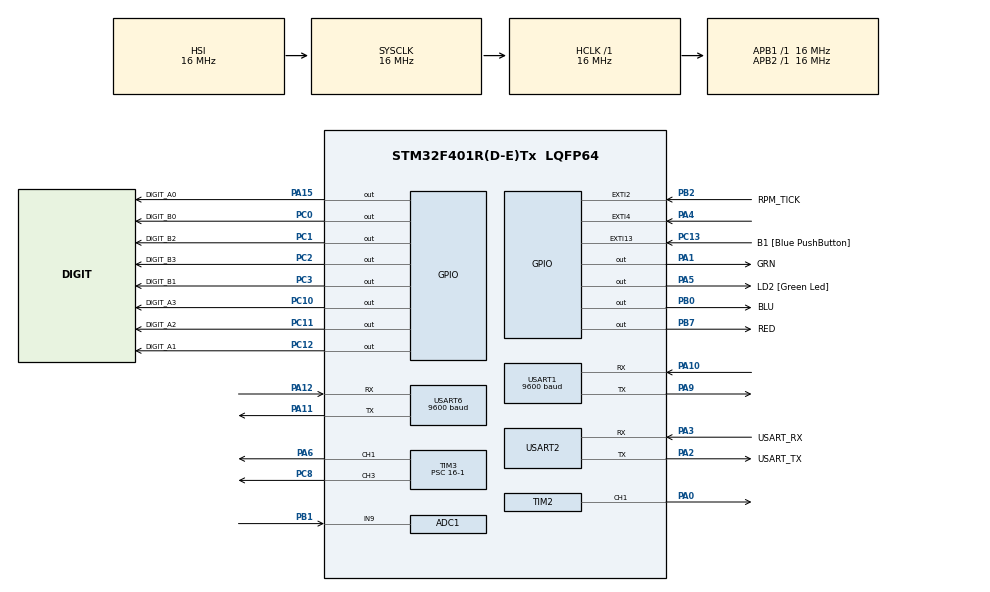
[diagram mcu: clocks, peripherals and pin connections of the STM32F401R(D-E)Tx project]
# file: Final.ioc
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ADC1.Channel-1\#ChannelRegularConversion=ADC_CHANNEL_9
ADC1.NbrOfConversionFlag=1
ADC1.Rank-1\#ChannelRegularConversion=1
ADC1.SamplingTime-1\#ChannelRegularConversion=ADC_SAMPLETIME_3CYCLES
ADC1.master=1
Mcu.Family=STM32F4
Mcu.Name=STM32F401R(D-E)Tx
Mcu.Package=LQFP64
NVIC.EXTI15_10_IRQn=true\:0\:0\:false\:false\:true\:true\:true\:true
NVIC.EXTI2_IRQn=true\:0\:0\:false\:false\:true\:true\:true\:true
NVIC.PriorityGroup=NVIC_PRIORITYGROUP_0
NVIC.USART1_IRQn=true\:0\:0\:false\:false\:true\:true\:true\:true
NVIC.USART6_IRQn=true\:0\:0\:false\:false\:true\:true\:true\:true
PA0-WKUP.Signal=S_TIM2_CH1_ETR
PA1.GPIO_Label=GRN
PA1.Signal=GPIO_Output
PA10.Mode=Asynchronous
PA10.Signal=USART1_RX
PA11.Mode=Asynchronous
PA11.Signal=USART6_TX
PA12.Mode=Asynchronous
PA12.Signal=USART6_RX
PA13.GPIO_Label=TMS
PA13.Mode=Serial_Wire
PA13.Signal=SYS_JTMS-SWDIO
PA14.GPIO_Label=TCK
PA14.Mode=Serial_Wire
PA14.Signal=SYS_JTCK-SWCLK
PA15.GPIO_Label=DIGIT_A0
PA15.Signal=GPIO_Output
PA2.GPIO_Label=USART_TX
PA2.GPIO_Mode=GPIO_MODE_AF_PP
PA2.GPIO_PuPd=GPIO_NOPULL
PA2.GPIO_Speed=GPIO_SPEED_FREQ_LOW
PA2.Mode=Asynchronous
PA2.Signal=USART2_TX
PA3.GPIO_Label=USART_RX
PA3.GPIO_Mode=GPIO_MODE_AF_PP
PA3.GPIO_PuPd=GPIO_NOPULL
PA3.GPIO_Speed=GPIO_SPEED_FREQ_LOW
PA3.Mode=Asynchronous
PA3.Signal=USART2_RX
PA4.Signal=GPXTI4
PA5.GPIO_Label=LD2 [Green Led]
PA5.GPIO_Mode=GPIO_MODE_OUTPUT_PP
PA5.GPIO_PuPd=GPIO_NOPULL
PA5.GPIO_Speed=GPIO_SPEED_FREQ_LOW
PA5.Signal=GPIO_Output
PA6.Signal=S_TIM3_CH1
PA9.Mode=Asynchronous
PA9.Signal=USART1_TX
PB0.GPIO_Label=BLU
PB0.Signal=GPIO_Output
PB1.Signal=ADCx_IN9
PB2.GPIO_Label=RPM_TICK
PB2.GPIO_ModeDefaultEXTI=GPIO_MODE_IT_RISING
PB2.Signal=GPXTI2
PB3.Signal=SYS_JTDO-SWO
PB7.GPIO_Label=RED
PB7.Signal=GPIO_Output
PC0.GPIO_Label=DIGIT_B0
PC0.Signal=GPIO_Output
PC1.GPIO_Label=DIGIT_B2
PC1.Signal=GPIO_Output
PC10.GPIO_Label=DIGIT_A3
PC10.Signal=GPIO_Output
PC11.GPIO_Label=DIGIT_A2
PC11.Signal=GPIO_Output
PC12.GPIO_Label=DIGIT_A1
PC12.Signal=GPIO_Output
PC13-ANTI_TAMP.GPIO_Label=B1 [Blue PushButton]
PC13-ANTI_TAMP.GPIO_ModeDefaultEXTI=GPIO_MODE_IT_FALLING
PC13-ANTI_TAMP.GPIO_PuPd=GPIO_NOPULL
PC13-ANTI_TAMP.Signal=GPXTI13
PC14-OSC32_IN.Mode=LSE-External-Oscillator
PC14-OSC32_IN.Signal=RCC_OSC32_IN
PC15-OSC32_OUT.Mode=LSE-External-Oscillator
PC15-OSC32_OUT.Signal=RCC_OSC32_OUT
PC2.GPIO_Label=DIGIT_B3
PC2.Signal=GPIO_Output
PC3.GPIO_Label=DIGIT_B1
PC3.Signal=GPIO_Output
PC8.Signal=S_TIM3_CH3
PH0\ -\ OSC_IN.Mode=HSE-External-Clock-Source
PH0\ -\ OSC_IN.Signal=RCC_OSC_IN
PH1\ -\ OSC_OUT.Mode=HSE-External-Clock-Source
PH1\ -\ OSC_OUT.Signal=RCC_OSC_OUT
ProjectManager.HeapSize=0x200
ProjectManager.StackSize=0x400
ProjectManager.TargetToolchain=STM32CubeIDE
RCC.48MHZClocksFreq_Value=48000000
RCC.AHBFreq_Value=16000000
RCC.APB1Freq_Value=16000000
RCC.APB1TimFreq_Value=16000000
RCC.APB2Freq_Value=16000000
RCC.APB2TimFreq_Value=16000000
RCC.CortexFreq_Value=16000000
RCC.HCLKFreq_Value=16000000
RCC.HSE_VALUE=8000000
RCC.HSI_VALUE=16000000
RCC.PLLN=336
RCC.PLLP=RCC_PLLP_DIV4
RCC.PLLQ=7
RCC.SYSCLKFreq_VALUE=16000000
RCC.VCOOutputFreq_Value=336000000
SH.ADCx_IN9.0=ADC1_IN9,IN9
SH.S_TIM2_CH1_ETR.0=TIM2_CH1,PWM Generation1 CH1
SH.S_TIM3_CH1.0=TIM3_CH1,PWM Generation1 CH1
SH.S_TIM3_CH3.0=TIM3_CH3,PWM Generation3 CH3
TIM2.AutoReloadPreload=TIM_AUTORELOAD_PRELOAD_ENABLE
TIM2.Channel-PWM\ Generation1\ CH1=TIM_CHANNEL_1
TIM2.Period=20000-1
TIM2.Prescaler=16-1
TIM3.AutoReloadPreload=TIM_AUTORELOAD_PRELOAD_ENABLE
TIM3.Channel-PWM\ Generation1\ CH1=TIM_CHANNEL_1
TIM3.Channel-PWM\ Generation3\ CH3=TIM_CHANNEL_3
TIM3.Period=2000-1
TIM3.Prescaler=16-1
TIM3.Pulse-PWM\ Generation1\ CH1=1200-1
USART1.BaudRate=9600
USART1.VirtualMode=VM_ASYNC
USART2.VirtualMode=VM_ASYNC
USART6.BaudRate=9600
USART6.Mode=MODE_TX_RX
USART6.VirtualMode=VM_ASYNC
VP_TIM2_VS_ClockSourceINT.Mode=Internal
board=NUCLEO-F401RE

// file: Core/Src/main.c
/* USER CODE BEGIN Header */
/**
  ******************************************************************************
  * @file           : main.c
  * @brief          : Main program body
  ******************************************************************************
  * @attention
  *
  * Copyright (c) 2024 STMicroelectronics.
  * All rights reserved.
  *
  * This software is licensed under terms that can be found in the LICENSE file
  * in the root directory of this software component.
  * If no LICENSE file comes with this software, it is provided AS-IS.
  *
  ******************************************************************************
  */
/* USER CODE END Header */
#include "main.h"

/* USER CODE BEGIN Includes */
#include <string.h>
#include <stdio.h>
/* USER CODE END Includes */

ADC_HandleTypeDef hadc1;

TIM_HandleTypeDef htim2;
TIM_HandleTypeDef htim3;

UART_HandleTypeDef huart1;
UART_HandleTypeDef huart2;
UART_HandleTypeDef huart6;

void SystemClock_Config(void);
static void MX_GPIO_Init(void);
static void MX_USART2_UART_Init(void);
static void MX_ADC1_Init(void);
static void MX_TIM2_Init(void);
static void MX_TIM3_Init(void);
static void MX_USART1_UART_Init(void);
static void MX_USART6_UART_Init(void);
/* USER CODE BEGIN PFP */
static void ADC_Select_CH(int CH);
/* USER CODE END PFP */

/* USER CODE BEGIN 0 */

void ADC_Select_CH(int CH)
{
ADC_ChannelConfTypeDef sConfig = {0};
switch(CH)
{
case 0:
sConfig.Channel = ADC_CHANNEL_0;
sConfig.Rank = 1;
if (HAL_ADC_ConfigChannel(&hadc1, &sConfig) != HAL_OK)
{
Error_Handler();
}
break;
case 1:
sConfig.Channel = ADC_CHANNEL_1;
sConfig.Rank = 1;
if (HAL_ADC_ConfigChannel(&hadc1, &sConfig) != HAL_OK)
{
Error_Handler();
}
break;
case 2:
sConfig.Channel = ADC_CHANNEL_2;
sConfig.Rank = 1;
if (HAL_ADC_ConfigChannel(&hadc1, &sConfig) != HAL_OK)
{
Error_Handler();
}
break;
case 3:
sConfig.Channel = ADC_CHANNEL_3;
sConfig.Rank = 1;
if (HAL_ADC_ConfigChannel(&hadc1, &sConfig) != HAL_OK)
{
Error_Handler();
}
break;
case 4:
sConfig.Channel = ADC_CHANNEL_4;
sConfig.Rank = 1;
if (HAL_ADC_ConfigChannel(&hadc1, &sConfig) != HAL_OK)
{
Error_Handler();
}
break;
case 5:
sConfig.Channel = ADC_CHANNEL_5;
sConfig.Rank = 1;
if (HAL_ADC_ConfigChannel(&hadc1, &sConfig) != HAL_OK)
{
Error_Handler();
}
break;
case 6:
sConfig.Channel = ADC_CHANNEL_6;
sConfig.Rank = 1;
if (HAL_ADC_ConfigChannel(&hadc1, &sConfig) != HAL_OK)
{
Error_Handler();
}
break;
case 7:
sConfig.Channel = ADC_CHANNEL_7;
sConfig.Rank = 1;
if (HAL_ADC_ConfigChannel(&hadc1, &sConfig) != HAL_OK)
{
Error_Handler();
}
break;
case 8:
sConfig.Channel = ADC_CHANNEL_8;
sConfig.Rank = 1;
if (HAL_ADC_ConfigChannel(&hadc1, &sConfig) != HAL_OK)
{
Error_Handler();
}
break;
case 9:
sConfig.Channel = ADC_CHANNEL_9;
sConfig.Rank = 1;
if (HAL_ADC_ConfigChannel(&hadc1, &sConfig) != HAL_OK)
{
Error_Handler();
}
break;
case 10:
sConfig.Channel = ADC_CHANNEL_10;
sConfig.Rank = 1;
if (HAL_ADC_ConfigChannel(&hadc1, &sConfig) != HAL_OK)
{
Error_Handler();
}
break;
case 11:
sConfig.Channel = ADC_CHANNEL_11;
sConfig.Rank = 1;
if (HAL_ADC_ConfigChannel(&hadc1, &sConfig) != HAL_OK)
{
Error_Handler();
}
break;
case 12:
sConfig.Channel = ADC_CHANNEL_12;
sConfig.Rank = 1;
if (HAL_ADC_ConfigChannel(&hadc1, &sConfig) != HAL_OK)
{
Error_Handler();
}
break;
case 13:
sConfig.Channel = ADC_CHANNEL_13;
sConfig.Rank = 1;
if (HAL_ADC_ConfigChannel(&hadc1, &sConfig) != HAL_OK)
{
Error_Handler();
}
break;
case 14:
sConfig.Channel = ADC_CHANNEL_14;
sConfig.Rank = 1;
if (HAL_ADC_ConfigChannel(&hadc1, &sConfig) != HAL_OK)
{
Error_Handler();
}
break;
case 15:
sConfig.Channel = ADC_CHANNEL_15;
sConfig.Rank = 1;
if (HAL_ADC_ConfigChannel(&hadc1, &sConfig) != HAL_OK)
{
Error_Handler();
}
break;
}
}
/* USER CODE END 0 */

int main(void)
{

  /* USER CODE BEGIN 1 */
  uint8_t txd_msg_buffer[64] = {0};
  /* USER CODE END 1 */

  /* MCU Configuration--------------------------------------------------------*/

  /* Reset of all peripherals, Initializes the Flash interface and the Systick. */
  HAL_Init();

  /* USER CODE BEGIN Init */
  uint8_t counter = 22;
  uint8_t DIG_A;
  uint8_t DIG_B;
  /* USER CODE END Init */

  /* Configure the system clock */
  SystemClock_Config();

  /* Initialize all configured peripherals */
  MX_GPIO_Init();
  MX_USART2_UART_Init();
  MX_ADC1_Init();
  MX_TIM2_Init();
  MX_TIM3_Init();
  MX_USART1_UART_Init();
  MX_USART6_UART_Init();
  /* USER CODE BEGIN 2 */
  HAL_TIM_Base_Init(&htim3);
  HAL_TIM_PWM_Start(&htim3, TIM_CHANNEL_1);
  HAL_TIM_PWM_Start(&htim3, TIM_CHANNEL_3);
  TIM3->PSC = 15;
  TIM3->ARR = 60000;
  TIM3->CCR1 = 0;
  TIM3->CCR3 = 0;
  int TIM3_Ch1_DCVAL = 0;
  int TIM3_Ch3_DCVAL = 0;
  int TIM2_Ch1_DCVAL = 500;
  int TIM2_Ch1_STEP = 20;
  HAL_TIM_Base_Start(&htim2);
  HAL_TIM_PWM_Start(&htim2, TIM_CHANNEL_1);
  TIM2->PSC = 16-1;
  TIM2->ARR = 20000-1;
  TIM2->CCR1 = TIM2_Ch1_DCVAL;
  /* USER CODE END 2 */

  /* Infinite loop */
  /* USER CODE BEGIN WHILE */
  while (1)
  {
	  //Potentiometer manual control
	  //polling for adc value
	  ADC_Select_CH(9);
	  HAL_ADC_Start(&hadc1);
	  HAL_ADC_PollForConversion(&hadc1, 1000);
	  uint8_t ADC_CH9 = HAL_ADC_GetValue(&hadc1);
	  HAL_ADC_Stop(&hadc1);
	  sprintf((char*)txd_msg_buffer, "DIGITIZED ANALOG VALUE FOR CH9: %d \r \n", ADC_CH9);
	  HAL_UART_Transmit(&huart6, txd_msg_buffer, strlen((char*)txd_msg_buffer), 1000);
	  HAL_Delay(1000);
	  //set motor speed to adc value
	  TIM3_Ch1_DCVAL = ADC_CH9*234;
	  TIM3->CCR1 = TIM3_Ch1_DCVAL;

	  //LED temp. code
	  HAL_GPIO_WritePin(GPIOA, GRN_Pin, GPIO_PIN_SET);
	  HAL_GPIO_WritePin(GPIOA, BLU_Pin|RED_Pin, GPIO_PIN_RESET);
	  HAL_Delay(1000);
	  HAL_GPIO_WritePin(GPIOA, BLU_Pin, GPIO_PIN_SET);
	  HAL_GPIO_WritePin(GPIOA, GRN_Pin|RED_Pin, GPIO_PIN_RESET);
	  HAL_Delay(1000);
	  HAL_GPIO_WritePin(RED_GPIO_Port, RED_Pin, GPIO_PIN_SET);
	  HAL_GPIO_WritePin(GPIOA, GRN_Pin|BLU_Pin, GPIO_PIN_RESET);
	  HAL_Delay(1000);

	  //HAL_GPIO_WritePin(DIGIT_A3_GPIO_Port, DIGIT_A3_Pin, GPIO_PIN_RESET);

	  //Timer board temp. code
	  DIG_A = counter/10;
	  DIG_B = counter%10;
	  DIGITS_Display(DIG_A, DIG_B);

	  //SERVO TEMP. CODE
	  /*while(TIM2_Ch1_DCVAL < 2500)
	  {
		  TIM2_Ch1_DCVAL += (TIM2_Ch1_STEP);
		  TIM2->CCR1 = TIM2_Ch1_DCVAL;
		  HAL_Delay(1);
	  }
	  while(TIM2_Ch1_DCVAL > 500)
	  {
		  TIM2_Ch1_DCVAL -= (TIM2_Ch1_STEP);
		  TIM2->CCR1 = TIM2_Ch1_DCVAL;
		  HAL_Delay(1);
	  }*/

    /* USER CODE END WHILE */

  }
}

void SystemClock_Config(void)
{
  RCC_OscInitTypeDef RCC_OscInitStruct = {0};
  RCC_ClkInitTypeDef RCC_ClkInitStruct = {0};

  /** Configure the main internal regulator output voltage
  */
  __HAL_RCC_PWR_CLK_ENABLE();
  __HAL_PWR_VOLTAGESCALING_CONFIG(PWR_REGULATOR_VOLTAGE_SCALE2);

  /** Initializes the RCC Oscillators according to the specified parameters
  * in the RCC_OscInitTypeDef structure.
  */
  RCC_OscInitStruct.OscillatorType = RCC_OSCILLATORTYPE_HSI;
  RCC_OscInitStruct.HSIState = RCC_HSI_ON;
  RCC_OscInitStruct.HSICalibrationValue = RCC_HSICALIBRATION_DEFAULT;
  RCC_OscInitStruct.PLL.PLLState = RCC_PLL_NONE;
  if (HAL_RCC_OscConfig(&RCC_OscInitStruct) != HAL_OK)
  {
    Error_Handler();
  }

  /** Initializes the CPU, AHB and APB buses clocks
  */
  RCC_ClkInitStruct.ClockType = RCC_CLOCKTYPE_HCLK|RCC_CLOCKTYPE_SYSCLK
                              |RCC_CLOCKTYPE_PCLK1|RCC_CLOCKTYPE_PCLK2;
  RCC_ClkInitStruct.SYSCLKSource = RCC_SYSCLKSOURCE_HSI;
  RCC_ClkInitStruct.AHBCLKDivider = RCC_SYSCLK_DIV1;
  RCC_ClkInitStruct.APB1CLKDivider = RCC_HCLK_DIV1;
  RCC_ClkInitStruct.APB2CLKDivider = RCC_HCLK_DIV1;

  if (HAL_RCC_ClockConfig(&RCC_ClkInitStruct, FLASH_LATENCY_0) != HAL_OK)
  {
    Error_Handler();
  }
}

static void MX_ADC1_Init(void)
{

  ADC_ChannelConfTypeDef sConfig = {0};

  /** Configure the global features of the ADC (Clock, Resolution, Data Alignment and number of conversion)
  */
  hadc1.Instance = ADC1;
  hadc1.Init.ClockPrescaler = ADC_CLOCK_SYNC_PCLK_DIV2;
  hadc1.Init.Resolution = ADC_RESOLUTION_12B;
  hadc1.Init.ScanConvMode = DISABLE;
  hadc1.Init.ContinuousConvMode = DISABLE;
  hadc1.Init.DiscontinuousConvMode = DISABLE;
  hadc1.Init.ExternalTrigConvEdge = ADC_EXTERNALTRIGCONVEDGE_NONE;
  hadc1.Init.ExternalTrigConv = ADC_SOFTWARE_START;
  hadc1.Init.DataAlign = ADC_DATAALIGN_RIGHT;
  hadc1.Init.NbrOfConversion = 1;
  hadc1.Init.DMAContinuousRequests = DISABLE;
  hadc1.Init.EOCSelection = ADC_EOC_SINGLE_CONV;
  if (HAL_ADC_Init(&hadc1) != HAL_OK)
  {
    Error_Handler();
  }

  /** Configure for the selected ADC regular channel its corresponding rank in the sequencer and its sample time.
  */
  sConfig.Channel = ADC_CHANNEL_9;
  sConfig.Rank = 1;
  sConfig.SamplingTime = ADC_SAMPLETIME_3CYCLES;
  if (HAL_ADC_ConfigChannel(&hadc1, &sConfig) != HAL_OK)
  {
    Error_Handler();
  }

}

static void MX_TIM2_Init(void)
{

  TIM_ClockConfigTypeDef sClockSourceConfig = {0};
  TIM_MasterConfigTypeDef sMasterConfig = {0};
  TIM_OC_InitTypeDef sConfigOC = {0};

  htim2.Instance = TIM2;
  htim2.Init.Prescaler = 16-1;
  htim2.Init.CounterMode = TIM_COUNTERMODE_UP;
  htim2.Init.Period = 20000-1;
  htim2.Init.ClockDivision = TIM_CLOCKDIVISION_DIV1;
  htim2.Init.AutoReloadPreload = TIM_AUTORELOAD_PRELOAD_ENABLE;
  if (HAL_TIM_Base_Init(&htim2) != HAL_OK)
  {
    Error_Handler();
  }
  sClockSourceConfig.ClockSource = TIM_CLOCKSOURCE_INTERNAL;
  if (HAL_TIM_ConfigClockSource(&htim2, &sClockSourceConfig) != HAL_OK)
  {
    Error_Handler();
  }
  if (HAL_TIM_PWM_Init(&htim2) != HAL_OK)
  {
    Error_Handler();
  }
  sMasterConfig.MasterOutputTrigger = TIM_TRGO_RESET;
  sMasterConfig.MasterSlaveMode = TIM_MASTERSLAVEMODE_DISABLE;
  if (HAL_TIMEx_MasterConfigSynchronization(&htim2, &sMasterConfig) != HAL_OK)
  {
    Error_Handler();
  }
  sConfigOC.OCMode = TIM_OCMODE_PWM1;
  sConfigOC.Pulse = 0;
  sConfigOC.OCPolarity = TIM_OCPOLARITY_HIGH;
  sConfigOC.OCFastMode = TIM_OCFAST_DISABLE;
  if (HAL_TIM_PWM_ConfigChannel(&htim2, &sConfigOC, TIM_CHANNEL_1) != HAL_OK)
  {
    Error_Handler();
  }
  HAL_TIM_MspPostInit(&htim2);

}

static void MX_TIM3_Init(void)
{

  TIM_MasterConfigTypeDef sMasterConfig = {0};
  TIM_OC_InitTypeDef sConfigOC = {0};

  htim3.Instance = TIM3;
  htim3.Init.Prescaler = 16-1;
  htim3.Init.CounterMode = TIM_COUNTERMODE_UP;
  htim3.Init.Period = 2000-1;
  htim3.Init.ClockDivision = TIM_CLOCKDIVISION_DIV1;
  htim3.Init.AutoReloadPreload = TIM_AUTORELOAD_PRELOAD_ENABLE;
  if (HAL_TIM_PWM_Init(&htim3) != HAL_OK)
  {
    Error_Handler();
  }
  sMasterConfig.MasterOutputTrigger = TIM_TRGO_RESET;
  sMasterConfig.MasterSlaveMode = TIM_MASTERSLAVEMODE_DISABLE;
  if (HAL_TIMEx_MasterConfigSynchronization(&htim3, &sMasterConfig) != HAL_OK)
  {
    Error_Handler();
  }
  sConfigOC.OCMode = TIM_OCMODE_PWM1;
  sConfigOC.Pulse = 1200-1;
  sConfigOC.OCPolarity = TIM_OCPOLARITY_HIGH;
  sConfigOC.OCFastMode = TIM_OCFAST_DISABLE;
  if (HAL_TIM_PWM_ConfigChannel(&htim3, &sConfigOC, TIM_CHANNEL_1) != HAL_OK)
  {
    Error_Handler();
  }
  sConfigOC.Pulse = 0;
  if (HAL_TIM_PWM_ConfigChannel(&htim3, &sConfigOC, TIM_CHANNEL_3) != HAL_OK)
  {
    Error_Handler();
  }
  HAL_TIM_MspPostInit(&htim3);

}

static void MX_USART1_UART_Init(void)
{

  huart1.Instance = USART1;
  huart1.Init.BaudRate = 9600;
  huart1.Init.WordLength = UART_WORDLENGTH_8B;
  huart1.Init.StopBits = UART_STOPBITS_1;
  huart1.Init.Parity = UART_PARITY_NONE;
  huart1.Init.Mode = UART_MODE_TX_RX;
  huart1.Init.HwFlowCtl = UART_HWCONTROL_NONE;
  huart1.Init.OverSampling = UART_OVERSAMPLING_16;
  if (HAL_UART_Init(&huart1) != HAL_OK)
  {
    Error_Handler();
  }

}

static void MX_USART2_UART_Init(void)
{

  huart2.Instance = USART2;
  huart2.Init.BaudRate = 115200;
  huart2.Init.WordLength = UART_WORDLENGTH_8B;
  huart2.Init.StopBits = UART_STOPBITS_1;
  huart2.Init.Parity = UART_PARITY_NONE;
  huart2.Init.Mode = UART_MODE_TX_RX;
  huart2.Init.HwFlowCtl = UART_HWCONTROL_NONE;
  huart2.Init.OverSampling = UART_OVERSAMPLING_16;
  if (HAL_UART_Init(&huart2) != HAL_OK)
  {
    Error_Handler();
  }

}

static void MX_USART6_UART_Init(void)
{

  huart6.Instance = USART6;
  huart6.Init.BaudRate = 9600;
  huart6.Init.WordLength = UART_WORDLENGTH_8B;
  huart6.Init.StopBits = UART_STOPBITS_1;
  huart6.Init.Parity = UART_PARITY_NONE;
  huart6.Init.Mode = UART_MODE_TX_RX;
  huart6.Init.HwFlowCtl = UART_HWCONTROL_NONE;
  huart6.Init.OverSampling = UART_OVERSAMPLING_16;
  if (HAL_UART_Init(&huart6) != HAL_OK)
  {
    Error_Handler();
  }

}

static void MX_GPIO_Init(void)
{
  GPIO_InitTypeDef GPIO_InitStruct = {0};

  /* GPIO Ports Clock Enable */
  __HAL_RCC_GPIOC_CLK_ENABLE();
  __HAL_RCC_GPIOH_CLK_ENABLE();
  __HAL_RCC_GPIOA_CLK_ENABLE();
  __HAL_RCC_GPIOB_CLK_ENABLE();

  /*Configure GPIO pin Output Level */
  HAL_GPIO_WritePin(GPIOC, DIGIT_B0_Pin|DIGIT_B2_Pin|DIGIT_B3_Pin|DIGIT_B1_Pin
                          |DIGIT_A3_Pin|DIGIT_A2_Pin|DIGIT_A1_Pin, GPIO_PIN_RESET);

  /*Configure GPIO pin Output Level */
  HAL_GPIO_WritePin(GPIOA, GRN_Pin|LD2_Pin|DIGIT_A0_Pin, GPIO_PIN_RESET);

  /*Configure GPIO pin Output Level */
  HAL_GPIO_WritePin(GPIOB, BLU_Pin|RED_Pin, GPIO_PIN_RESET);

  /*Configure GPIO pin : B1_Pin */
  GPIO_InitStruct.Pin = B1_Pin;
  GPIO_InitStruct.Mode = GPIO_MODE_IT_FALLING;
  GPIO_InitStruct.Pull = GPIO_NOPULL;
  HAL_GPIO_Init(B1_GPIO_Port, &GPIO_InitStruct);

  /*Configure GPIO pins : DIGIT_B0_Pin DIGIT_B2_Pin DIGIT_B3_Pin DIGIT_B1_Pin
                           DIGIT_A3_Pin DIGIT_A2_Pin DIGIT_A1_Pin */
  GPIO_InitStruct.Pin = DIGIT_B0_Pin|DIGIT_B2_Pin|DIGIT_B3_Pin|DIGIT_B1_Pin
                          |DIGIT_A3_Pin|DIGIT_A2_Pin|DIGIT_A1_Pin;
  GPIO_InitStruct.Mode = GPIO_MODE_OUTPUT_PP;
  GPIO_InitStruct.Pull = GPIO_NOPULL;
  GPIO_InitStruct.Speed = GPIO_SPEED_FREQ_LOW;
  HAL_GPIO_Init(GPIOC, &GPIO_InitStruct);

  /*Configure GPIO pins : GRN_Pin LD2_Pin DIGIT_A0_Pin */
  GPIO_InitStruct.Pin = GRN_Pin|LD2_Pin|DIGIT_A0_Pin;
  GPIO_InitStruct.Mode = GPIO_MODE_OUTPUT_PP;
  GPIO_InitStruct.Pull = GPIO_NOPULL;
  GPIO_InitStruct.Speed = GPIO_SPEED_FREQ_LOW;
  HAL_GPIO_Init(GPIOA, &GPIO_InitStruct);

  /*Configure GPIO pin : PA4 */
  GPIO_InitStruct.Pin = GPIO_PIN_4;
  GPIO_InitStruct.Mode = GPIO_MODE_IT_RISING;
  GPIO_InitStruct.Pull = GPIO_NOPULL;
  HAL_GPIO_Init(GPIOA, &GPIO_InitStruct);

  /*Configure GPIO pins : BLU_Pin RED_Pin */
  GPIO_InitStruct.Pin = BLU_Pin|RED_Pin;
  GPIO_InitStruct.Mode = GPIO_MODE_OUTPUT_PP;
  GPIO_InitStruct.Pull = GPIO_NOPULL;
  GPIO_InitStruct.Speed = GPIO_SPEED_FREQ_LOW;
  HAL_GPIO_Init(GPIOB, &GPIO_InitStruct);

  /*Configure GPIO pin : RPM_TICK_Pin */
  GPIO_InitStruct.Pin = RPM_TICK_Pin;
  GPIO_InitStruct.Mode = GPIO_MODE_IT_RISING;
  GPIO_InitStruct.Pull = GPIO_NOPULL;
  HAL_GPIO_Init(RPM_TICK_GPIO_Port, &GPIO_InitStruct);

  /* EXTI interrupt init*/
  HAL_NVIC_SetPriority(EXTI2_IRQn, 0, 0);
  HAL_NVIC_EnableIRQ(EXTI2_IRQn);

  HAL_NVIC_SetPriority(EXTI15_10_IRQn, 0, 0);
  HAL_NVIC_EnableIRQ(EXTI15_10_IRQn);

}

/* USER CODE BEGIN 4 */
void DIGITS_Display(uint8_t DIGIT_A, uint8_t DIGIT_B)
{
	 uint8_t DIGITA_VAL = 0x0F & DIGIT_A; //mask off higher4 bits
	 int Abit0 = (DIGITA_VAL ) & 1;  	// extract Abit0 of the 4-bit value
	 int Abit1 = (DIGITA_VAL >> 1) & 1;  // extract Abit1 of the 4-bit value
	 int Abit2 = (DIGITA_VAL >> 2) & 1;  // extract Abit2 of the 4-bit value
	 int Abit3 = (DIGITA_VAL >> 3) & 1;  // extract Abit3 of the 4-bit value

	 uint8_t DIGITB_VAL = 0x0F & DIGIT_B; //mask off higher4 bits
	 int Bbit0 = (DIGITB_VAL ) & 1;  	// extract Bbit0 of the 4-bit value
	 int Bbit1 = (DIGITB_VAL >> 1) & 1;  // extract Bbit1 of the 4-bit value
	 int Bbit2 = (DIGITB_VAL >> 2) & 1;  // extract Bbit2 of the 4-bit value
	 int Bbit3 = (DIGITB_VAL >> 3) & 1;  // extract Bbit3 of the 4-bit value

	 if (Abit0 == (0))
	 {
		 HAL_GPIO_WritePin(GPIOB, DIGIT_A0_Pin, GPIO_PIN_RESET);
	 }
	 else
	 {
		 HAL_GPIO_WritePin(GPIOB, DIGIT_A0_Pin, GPIO_PIN_SET);

	 }
	 if (Abit1 == (0))
	 {
		 HAL_GPIO_WritePin(GPIOB, DIGIT_A1_Pin, GPIO_PIN_RESET);
	 }
	 else
	 {
		 HAL_GPIO_WritePin(GPIOB, DIGIT_A1_Pin, GPIO_PIN_SET);

	 }
	 if (Abit2 == (0))
	 {
		 HAL_GPIO_WritePin(GPIOB, DIGIT_A2_Pin, GPIO_PIN_RESET);
	 }
	 else
	 {
		 HAL_GPIO_WritePin(GPIOB, DIGIT_A2_Pin, GPIO_PIN_SET);

	 }
	 if (Abit3 == (0))
	 {
		 HAL_GPIO_WritePin(GPIOB, DIGIT_A3_Pin, GPIO_PIN_RESET);
	 }
	 else
	 {
		 HAL_GPIO_WritePin(GPIOB, DIGIT_A3_Pin, GPIO_PIN_SET);

	 }

	 if (Bbit0 == (0))
	 {
		 HAL_GPIO_WritePin(GPIOC, DIGIT_B0_Pin, GPIO_PIN_RESET);
	 }
	 else
	 {
		 HAL_GPIO_WritePin(GPIOC, DIGIT_B0_Pin, GPIO_PIN_SET);

	 }
	 if (Bbit1 == (0))
	 {
		 HAL_GPIO_WritePin(GPIOC, DIGIT_B1_Pin, GPIO_PIN_RESET);
	 }
	 else
	 {
		 HAL_GPIO_WritePin(GPIOC, DIGIT_B1_Pin, GPIO_PIN_SET);

	 }
	 if (Bbit2 == (0))
	 {
		 HAL_GPIO_WritePin(GPIOC, DIGIT_B2_Pin, GPIO_PIN_RESET);
	 }
	 else
	 {
		 HAL_GPIO_WritePin(GPIOC, DIGIT_B2_Pin, GPIO_PIN_SET);

	 }
	 if (Bbit3 == (0))
	 {
		 HAL_GPIO_WritePin(GPIOC, DIGIT_B3_Pin, GPIO_PIN_RESET);
	 }
	 else
	 {
		 HAL_GPIO_WritePin(GPIOC, DIGIT_B3_Pin, GPIO_PIN_SET);

	 }
}
/* USER CODE END 4 */

void Error_Handler(void)
{
  __disable_irq();
  while (1)
  {
  }
}
